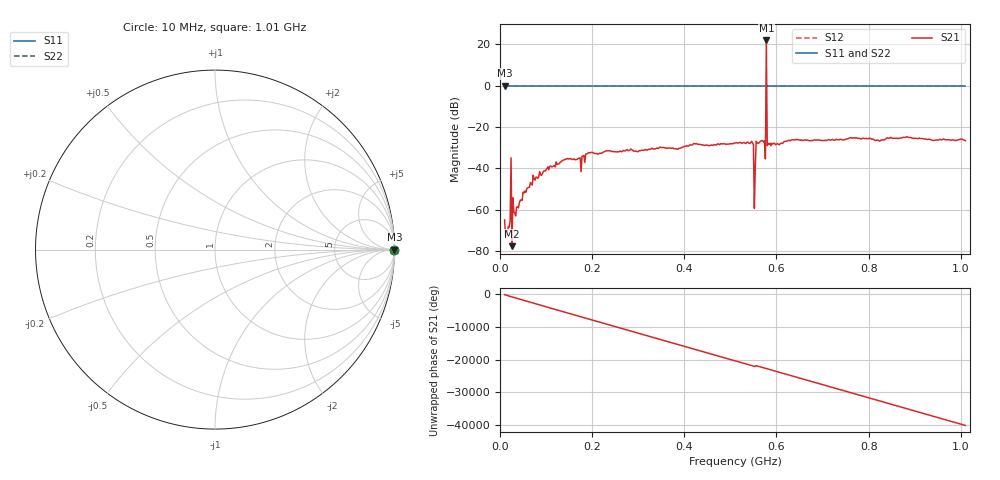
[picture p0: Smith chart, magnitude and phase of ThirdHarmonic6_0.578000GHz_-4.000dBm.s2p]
! 8/15/2025 6:37:55 PM
! C:\ANRITSUVNA\TEMP\TEMP.S2P
! CHANNEL.1
! TR.MEASUREMENT
! RAW.DATA
! RF.CORRECTION.OFF
! AVERAGING.OFF
! IF.BANDWIDTH: 5KHZ
! SWEEPTYPE:  FREQ.SWEEP(Linear)
! Reference Plane Port Info
! PORT:  PORT1  PORT2
! DISTANCE:  0  m  0  m
! TIME:  0  s  0  s
! PHASE.OFFSET:  0  deg.  0  deg.
! LOSS:  0  dB  0  dB
! REF.LOSS:  0  dB  0  dB
! REF.FREQ:  0  Hz  0  Hz
! Power Info
! POWER:  -20  dBm  -20  dBm
! EFF.POWER:  -20  dBm  -20  dBm
! SOURCE.ATTEN:  0  dB  0  dB
! TEST.ATTEN:  0  dB  0  dB
# GHZ S RI R 50.0
! FREQ.GHZ  S11RE  S11IM  S21RE  S21IM  S12RE  S12IM  S22RE  S22IM
!; PortSelection: Port_12
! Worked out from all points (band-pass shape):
!   501 points, 10 MHz to 1.01 GHz, reference 50 ohm
!   highest |S21| = 21.81 dB at 578 MHz (marker M1); lowest = -77.7 dB at 26 MHz (marker M2)
!   |S21| within 3 dB of the highest: 577.8953 MHz to 578.1179 MHz (222.6 kHz wide, 0.0385 % of centre)
!   lowest |S11| = 0.0 dB at 10 MHz (marker M3)
!   |S11| at or under -10 dB: nowhere
!   |S22| runs from 0.0 to 0.0 dB; largest |S21 - S12| = 11
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0.01  1 0  -0.000188 -0.000528  1 0  1 0
0.016  1 0  0.000289 8e-07  1 0  1 0
0.02  1 0  -7.62e-05 0.000369  1 0  1 0
0.026  1 0  -3.17e-05 -0.000126  1 0  1 0
0.03  1 0  -6.64e-05 0.000881  1 0  1 0
0.054  1 0  -0.0028 0.000116  1 0  1 0
0.106  1 0  -0.00672 -0.00627  1 0  1 0
0.178  1 0  -0.019 -0.00335  1 0  1 0
0.344  1 0  0.0286 -0.00936  1 0  1 0
0.51  1 0  -0.0357 0.0195  1 0  1 0
0.546  1 0  -0.036 0.0266  1 0  1 0
0.55  1 0  0.0348 -0.0125  1 0  1 0
0.556  1 0  -0.0065 0.0444  1 0  1 0
0.56  1 0  0.0208 -0.0341  1 0  1 0
0.572  1 0  -0.0429 0.00352  1 0  1 0
0.574  1 0  -0.00316 0.0458  1 0  1 0
0.578  1 0  11.67 -3.929  1 0  1 0
0.582  1 0  -0.0254 0.0307  1 0  1 0
0.584  1 0  0.0241 0.0298  1 0  1 0
0.678  1 0  -0.0275 -0.0375  1 0  1 0
0.844  1 0  0.0447 0.0274  1 0  1 0
1.01  1 0  -0.0463 0.000141  1 0  1 0
